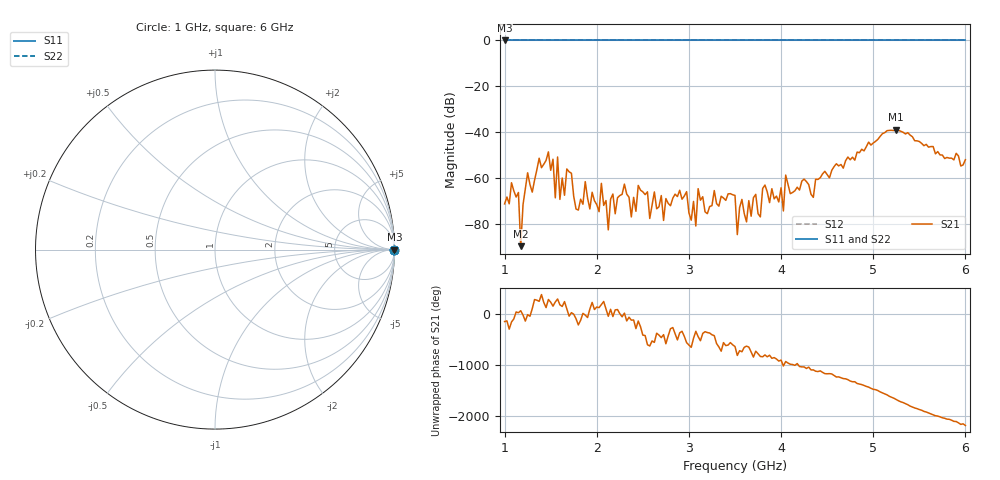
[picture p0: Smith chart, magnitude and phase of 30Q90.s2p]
!Keysight Technologies N9926A: A.08.19
!Date: Sunday, 01 March 2026 14:19:01
!Timezone: (GMT-06:00) Central Time (US & Canada)
!Model: N9926A
!Serial: MY53102721
!GPS Latitude:
!GPS Longitude:
!GPS TimeStamp: 0001-01-01 00:00:00Z
!GPS Seconds Since Last Read: 0
!CHECKSUM:2009731329
!Correction: S11()S21(ON U)S12()S22()
!S2P File: Measurements:S11,S21,S12,S22:
# Hz S DB R 50
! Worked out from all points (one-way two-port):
!   201 points, 1 GHz to 6 GHz, reference 50 ohm
!   highest |S21| = -38.81 dB at 5.25 GHz (marker M1); lowest = -89.5 dB at 1.175 GHz (marker M2)
!   lowest |S11| = 0.0 dB at 1 GHz (marker M3)
!   |S11| at or under -10 dB: nowhere
!   |S22| runs from 0.0 to 0.0 dB; largest |S21 - S12| = 1
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1e9  0.00 0.0  -71.06 -152.6  0.00 0.0  0.00 0.0
1.075e9  0.00 0.0  -61.87 -161.4  0.00 0.0  0.00 0.0
1.175e9  0.00 0.0  -89.45 58.7  0.00 0.0  0.00 0.0
1.25e9  0.00 0.0  -57.56 -18.4  0.00 0.0  0.00 0.0
1.475e9  0.00 0.0  -48.46 -80.5  0.00 0.0  0.00 0.0
1.55e9  0.00 0.0  -68.43 -128.9  0.00 0.0  0.00 0.0
1.575e9  0.00 0.0  -50.68 -70.4  0.00 0.0  0.00 0.0
1.6e9  0.00 0.0  -69.11 174.2  0.00 0.0  0.00 0.0
1.675e9  0.00 0.0  -55.88 95.0  0.00 0.0  0.00 0.0
1.85e9  0.00 0.0  -71.22 7.2  0.00 0.0  0.00 0.0
2.675e9  0.00 0.0  -72.34 -58.9  0.00 0.0  0.00 0.0
3.5e9  0.00 0.0  -67.39 77.2  0.00 0.0  0.00 0.0
3.525e9  0.00 0.0  -84.42 -97.9  0.00 0.0  0.00 0.0
3.725e9  0.00 0.0  -66.93 -14.5  0.00 0.0  0.00 0.0
3.775e9  0.00 0.0  -76.72 -117.7  0.00 0.0  0.00 0.0
3.825e9  0.00 0.0  -62.88 -87.7  0.00 0.0  0.00 0.0
4.025e9  0.00 0.0  -74.13 55.5  0.00 0.0  0.00 0.0
4.05e9  0.00 0.0  -58.54 142.8  0.00 0.0  0.00 0.0
4.35e9  0.00 0.0  -68.23 -21.7  0.00 0.0  0.00 0.0
5.175e9  0.00 0.0  -39.10 -180.0  0.00 0.0  0.00 0.0
5.25e9  0.00 0.0  -38.81 116.0  0.00 0.0  0.00 0.0
6e9  0.00 0.0  -51.85 -31.4  0.00 0.0  0.00 0.0
